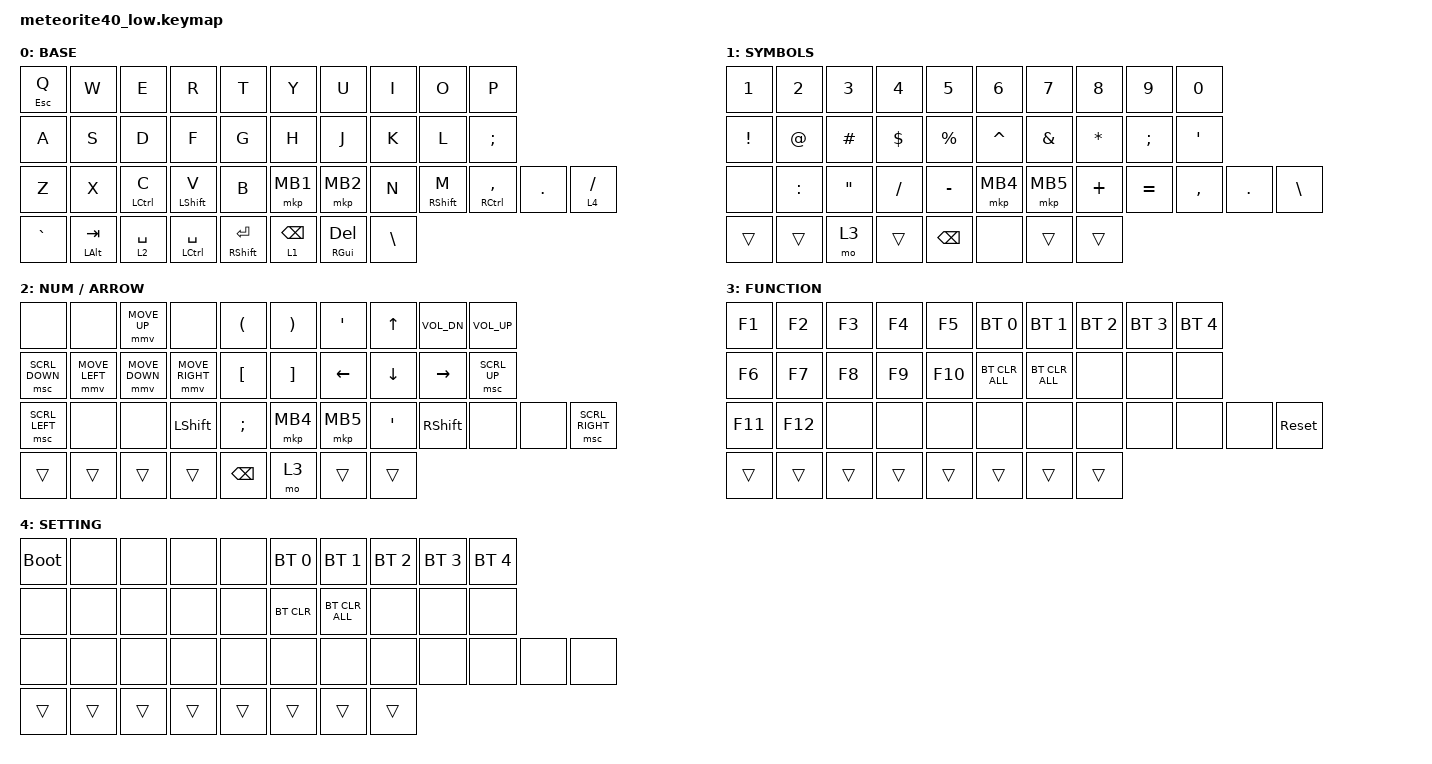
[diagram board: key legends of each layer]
#include <behaviors.dtsi>
#include <dt-bindings/zmk/bt.h>
#include <dt-bindings/zmk/keys.h>
#include <dt-bindings/zmk/pointing.h>

#define JP_PIPE         LS(0x89)          // |

&mt {
    flavor = "tap-preferred"; // change hold to tap
    tapping-term-ms = <200>;
    quick-tap-ms = <150>; // change 200 to 150
};

&lt {
    flavor = "tap-preferred";
    tapping-term-ms = <150>; // change 200 to 150
    quick-tap-ms = <150>; // change 200 to 150
};

/ {
    combos {
        compatible = "zmk,combos";

        lang1 {
            bindings = <&kp LANG1>;
            key-positions = <12 13>; /* D + F */
            layers = <0>;
        };

        lang2 {
            bindings = <&kp LANG2>;
            key-positions = <16 17>; /* J + K */
            layers = <0>;
        };

        tab {
            bindings = <&kp TAB>;
            key-positions = <10 11 12>; /* Q + W */
            layers = <0>;
        };

        home {
            bindings = <&kp HOME>;
            key-positions = <16 17>; /* J + K (on layer 2) */
            layers = <2>;
        };

        end {
            bindings = <&kp END>;
            key-positions = <18 19>; /* L + - (on layer 2) */
            layers = <2>;
        };

        ctrl_home {
            bindings = <&kp LC(HOME)>;
            key-positions = <16 18>; /* J + L (on layer 2) */
            layers = <2>;
        };

        ctrl_end {
            bindings = <&kp LC(END)>;
            key-positions = <17 19>; /* K + - (on layer 2) */
            layers = <2>;
        };

        bou {
            bindings = <&kp MINUS>;
            key-positions = <9 8>;
            layers = <0>;
        };
    };

    moC: moC {
        compatible = "zmk,behavior-mod-morph";
        #binding-cells = <0>;
        bindings = <&kp INT3>, <&kp NON_US_BACKSLASH>;

        mods = <(MOD_LSFT|MOD_RSFT)>;
    };

    behaviors {
    };

    keymap {
        compatible = "zmk,keymap";
        layout = &LOW_PROFILE_DEFAULT;

        win_default_layer {
            display-name = "BASE";
            bindings = <
&mt ESC Q  &kp W             &kp E        &kp R             &kp T                  &kp Y       &kp U              &kp I     &kp O              &kp P
&kp A      &kp S             &kp D        &kp F             &kp G                  &kp H       &kp J              &kp K     &kp L              &kp SEMICOLON
&kp Z      &kp X             &mt LCTRL C  &mt LEFT_SHIFT V  &kp B                  &mkp MB1    &mkp MB2           &kp N     &mt RIGHT_SHIFT M  &mt RCTRL COMMA  &kp DOT  &lt 4 SLASH
&kp GRAVE  &mt LEFT_ALT TAB  &lt 2 SPACE  &mt LCTRL SPACE   &mt RIGHT_SHIFT ENTER  &lt 1 BSPC  &mt RIGHT_GUI DEL  &kp BSLH
            >;
        };

        layer_1 {
            display-name = "SYMBOLS";
            bindings = <
&kp N1    &kp N2     &kp N3             &kp N4     &kp NUMBER_5   &kp N6     &kp NUMBER_7  &kp NUMBER_8  &kp NUMBER_9   &kp N0
&kp EXCL  &kp AT     &kp HASH           &kp DLLR   &kp PRCNT      &kp CARET  &kp AMPS      &kp ASTRK     &kp SEMICOLON  &kp SQT
&none     &kp COLON  &kp DOUBLE_QUOTES  &kp SLASH  &kp MINUS      &mkp MB4   &mkp MB5      &kp PLUS      &kp EQUAL      &kp COMMA  &kp PERIOD  &kp BSLH
&trans    &trans     &mo 3              &trans     &kp BACKSPACE  &none      &trans        &trans
            >;
        };

        layer_2 {
            display-name = "NUM / ARROW";
            bindings = <
&none           &none           &mmv MOVE_UP    &none            &kp LEFT_PARENTHESIS  &kp RIGHT_PARENTHESIS  &kp SQT   &kp UP_ARROW  &kp C_VOL_DN     &kp C_VOL_UP
&msc SCRL_DOWN  &mmv MOVE_LEFT  &mmv MOVE_DOWN  &mmv MOVE_RIGHT  &kp LBKT              &kp RBKT               &kp LEFT  &kp DOWN      &kp RIGHT        &msc SCRL_UP
&msc SCRL_LEFT  &none           &none           &kp LEFT_SHIFT   &kp SEMICOLON         &mkp MB4               &mkp MB5  &kp SQT       &kp RIGHT_SHIFT  &none         &none  &msc SCRL_RIGHT
&trans          &trans          &trans          &trans           &kp BACKSPACE         &mo 3                  &trans    &trans
            >;
        };

        layer_3 {
            display-name = "FUNCTION";
            bindings = <
&kp F1   &kp F2   &kp F3  &kp F4  &kp F5   &bt BT_SEL 0    &bt BT_SEL 1    &bt BT_SEL 2  &bt BT_SEL 3  &bt BT_SEL 4
&kp F6   &kp F7   &kp F8  &kp F9  &kp F10  &bt BT_CLR_ALL  &bt BT_CLR_ALL  &none         &none         &none
&kp F11  &kp F12  &none   &none   &none    &none           &none           &none         &none         &none         &none  &sys_reset
&trans   &trans   &trans  &trans  &trans   &trans          &trans          &trans
            >;
        };

        layer_4 {
            display-name = "SETTING";
            bindings = <
&bootloader  &none   &none   &none   &none   &bt BT_SEL 0  &bt BT_SEL 1    &bt BT_SEL 2  &bt BT_SEL 3  &bt BT_SEL 4
&none        &none   &none   &none   &none   &bt BT_CLR    &bt BT_CLR_ALL  &none         &none         &none
&none        &none   &none   &none   &none   &none         &none           &none         &none         &none         &none  &none
&trans       &trans  &trans  &trans  &trans  &trans        &trans          &trans
            >;
        };
    };
};
